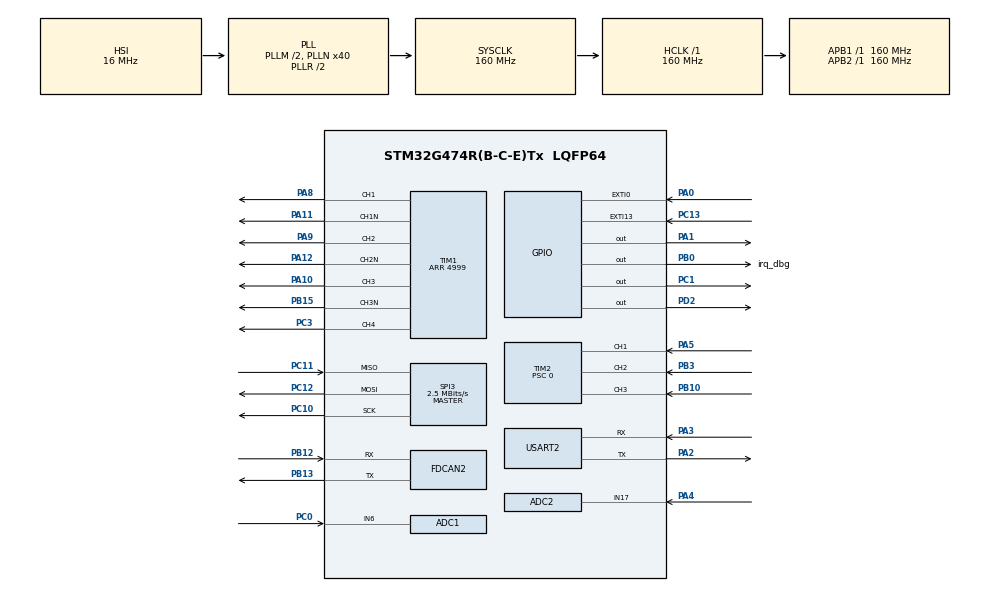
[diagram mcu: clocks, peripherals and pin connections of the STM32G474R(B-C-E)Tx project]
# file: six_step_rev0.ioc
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ADC1.Channel-0\#ChannelRegularConversion=ADC_CHANNEL_6
ADC1.NbrOfConversionFlag=1
ADC1.OffsetNumber-0\#ChannelRegularConversion=ADC_OFFSET_NONE
ADC1.Rank-0\#ChannelRegularConversion=1
ADC1.SamplingTime-0\#ChannelRegularConversion=ADC_SAMPLETIME_2CYCLES_5
ADC1.master=1
ADC2.Channel-0\#ChannelRegularConversion=ADC_CHANNEL_17
ADC2.DMAContinuousRequests=ENABLE
ADC2.EOCSelection=ADC_EOC_SEQ_CONV
ADC2.ExternalTrigConv=ADC_EXTERNALTRIG_T6_TRGO
ADC2.NbrOfConversion=1
ADC2.NbrOfConversionFlag=1
ADC2.OffsetNumber-0\#ChannelRegularConversion=ADC_OFFSET_NONE
ADC2.Overrun=ADC_OVR_DATA_OVERWRITTEN
ADC2.Rank-0\#ChannelRegularConversion=1
ADC2.SamplingTime-0\#ChannelRegularConversion=ADC_SAMPLETIME_2CYCLES_5
Dma.ADC2.2.Direction=DMA_PERIPH_TO_MEMORY
Dma.ADC2.2.EventEnable=DISABLE
Dma.ADC2.2.Instance=DMA1_Channel3
Dma.ADC2.2.MemDataAlignment=DMA_MDATAALIGN_HALFWORD
Dma.ADC2.2.MemInc=DMA_MINC_ENABLE
Dma.ADC2.2.Mode=DMA_CIRCULAR
Dma.ADC2.2.PeriphDataAlignment=DMA_PDATAALIGN_HALFWORD
Dma.ADC2.2.PeriphInc=DMA_PINC_DISABLE
Dma.ADC2.2.Polarity=HAL_DMAMUX_REQ_GEN_RISING
Dma.ADC2.2.Priority=DMA_PRIORITY_LOW
Dma.ADC2.2.RequestNumber=1
Dma.ADC2.2.SignalID=NONE
Dma.ADC2.2.SyncEnable=DISABLE
Dma.ADC2.2.SyncPolarity=HAL_DMAMUX_SYNC_NO_EVENT
Dma.ADC2.2.SyncRequestNumber=1
Dma.ADC2.2.SyncSignalID=NONE
Dma.Request0=USART2_TX
Dma.Request1=USART2_RX
Dma.Request2=ADC2
Dma.USART2_RX.1.Direction=DMA_PERIPH_TO_MEMORY
Dma.USART2_RX.1.EventEnable=DISABLE
Dma.USART2_RX.1.Instance=DMA1_Channel2
Dma.USART2_RX.1.MemDataAlignment=DMA_MDATAALIGN_BYTE
Dma.USART2_RX.1.MemInc=DMA_MINC_ENABLE
Dma.USART2_RX.1.Mode=DMA_NORMAL
Dma.USART2_RX.1.PeriphDataAlignment=DMA_PDATAALIGN_BYTE
Dma.USART2_RX.1.PeriphInc=DMA_PINC_DISABLE
Dma.USART2_RX.1.Polarity=HAL_DMAMUX_REQ_GEN_RISING
Dma.USART2_RX.1.Priority=DMA_PRIORITY_LOW
Dma.USART2_RX.1.RequestNumber=1
Dma.USART2_RX.1.SignalID=NONE
Dma.USART2_RX.1.SyncEnable=DISABLE
Dma.USART2_RX.1.SyncPolarity=HAL_DMAMUX_SYNC_NO_EVENT
Dma.USART2_RX.1.SyncRequestNumber=1
Dma.USART2_RX.1.SyncSignalID=NONE
Dma.USART2_TX.0.Direction=DMA_MEMORY_TO_PERIPH
Dma.USART2_TX.0.EventEnable=DISABLE
Dma.USART2_TX.0.Instance=DMA1_Channel1
Dma.USART2_TX.0.MemDataAlignment=DMA_MDATAALIGN_BYTE
Dma.USART2_TX.0.MemInc=DMA_MINC_ENABLE
Dma.USART2_TX.0.Mode=DMA_NORMAL
Dma.USART2_TX.0.PeriphDataAlignment=DMA_PDATAALIGN_BYTE
Dma.USART2_TX.0.PeriphInc=DMA_PINC_DISABLE
Dma.USART2_TX.0.Polarity=HAL_DMAMUX_REQ_GEN_RISING
Dma.USART2_TX.0.Priority=DMA_PRIORITY_LOW
Dma.USART2_TX.0.RequestNumber=1
Dma.USART2_TX.0.SignalID=NONE
Dma.USART2_TX.0.SyncEnable=DISABLE
Dma.USART2_TX.0.SyncPolarity=HAL_DMAMUX_SYNC_NO_EVENT
Dma.USART2_TX.0.SyncRequestNumber=1
Dma.USART2_TX.0.SyncSignalID=NONE
FDCAN2.CalculateBaudRateNominal=3333333
FDCAN2.CalculateTimeBitNominal=300
FDCAN2.CalculateTimeQuantumNominal=100.0
Mcu.Family=STM32G4
Mcu.Name=STM32G474R(B-C-E)Tx
Mcu.Package=LQFP64
NVIC.DMA1_Channel1_IRQn=true\:0\:0\:false\:false\:true\:false\:true\:true
NVIC.DMA1_Channel2_IRQn=true\:0\:0\:false\:false\:true\:false\:true\:true
NVIC.DMA1_Channel3_IRQn=true\:0\:0\:false\:false\:true\:false\:true\:true
NVIC.EXTI0_IRQn=true\:0\:0\:false\:false\:true\:true\:true\:true
NVIC.EXTI15_10_IRQn=true\:0\:0\:false\:false\:true\:true\:true\:true
NVIC.PriorityGroup=NVIC_PRIORITYGROUP_4
NVIC.TIM1_BRK_TIM15_IRQn=true\:1\:0\:true\:false\:true\:true\:true\:true
NVIC.TIM1_CC_IRQn=true\:1\:0\:true\:false\:true\:true\:true\:true
NVIC.TIM2_IRQn=true\:0\:0\:false\:false\:true\:true\:true\:true
NVIC.TIM6_DAC_IRQn=true\:0\:0\:false\:false\:true\:true\:true\:true
NVIC.USART2_IRQn=true\:0\:0\:false\:false\:true\:false\:true\:true
PA0.GPIO_ModeDefaultEXTI=GPIO_MODE_IT_FALLING
PA0.Signal=GPXTI0
PA1.Signal=GPIO_Output
PA10.GPIO_PuPd=GPIO_PULLDOWN
PA10.GPIO_Speed=GPIO_SPEED_FREQ_VERY_HIGH
PA10.Signal=S_TIM1_CH3
PA11.GPIO_PuPd=GPIO_PULLDOWN
PA11.GPIO_Speed=GPIO_SPEED_FREQ_VERY_HIGH
PA11.Mode=PWM Generation1 CH1 CH1N
PA11.Signal=TIM1_CH1N
PA12.GPIO_PuPd=GPIO_PULLDOWN
PA12.GPIO_Speed=GPIO_SPEED_FREQ_VERY_HIGH
PA12.Mode=PWM Generation2 CH2 CH2N
PA12.Signal=TIM1_CH2N
PA13.Mode=Serial_Wire
PA13.Signal=SYS_JTMS-SWDIO
PA14.Mode=Serial_Wire
PA14.Signal=SYS_JTCK-SWCLK
PA2.Mode=Asynchronous
PA2.Signal=USART2_TX
PA3.Mode=Asynchronous
PA3.Signal=USART2_RX
PA4.Mode=IN17-Single-Ended
PA4.Signal=ADC2_IN17
PA5.GPIO_PuPd=GPIO_PULLUP
PA5.Signal=S_TIM2_CH1
PA8.GPIO_PuPd=GPIO_PULLDOWN
PA8.GPIO_Speed=GPIO_SPEED_FREQ_VERY_HIGH
PA8.Signal=S_TIM1_CH1
PA9.GPIO_PuPd=GPIO_PULLDOWN
PA9.GPIO_Speed=GPIO_SPEED_FREQ_VERY_HIGH
PA9.Signal=S_TIM1_CH2
PB0.GPIO_Label=irq_dbg
PB0.Signal=GPIO_Output
PB10.GPIO_PuPd=GPIO_PULLUP
PB10.Signal=S_TIM2_CH3
PB12.Mode=FDCAN_Activate
PB12.Signal=FDCAN2_RX
PB13.Mode=FDCAN_Activate
PB13.Signal=FDCAN2_TX
PB15.GPIO_PuPd=GPIO_PULLDOWN
PB15.GPIO_Speed=GPIO_SPEED_FREQ_VERY_HIGH
PB15.Mode=PWM Generation3 CH3 CH3N
PB15.Signal=TIM1_CH3N
PB3.GPIO_PuPd=GPIO_PULLUP
PB3.Signal=S_TIM2_CH2
PC0.Mode=IN6-Single-Ended
PC0.Signal=ADC1_IN6
PC1.Signal=GPIO_Output
PC10.GPIO_Speed=GPIO_SPEED_FREQ_VERY_HIGH
PC10.Mode=Full_Duplex_Master
PC10.Signal=SPI3_SCK
PC11.GPIO_Speed=GPIO_SPEED_FREQ_VERY_HIGH
PC11.Mode=Full_Duplex_Master
PC11.Signal=SPI3_MISO
PC12.GPIO_Speed=GPIO_SPEED_FREQ_VERY_HIGH
PC12.Mode=Full_Duplex_Master
PC12.Signal=SPI3_MOSI
PC13.Signal=GPXTI13
PC3.GPIO_PuPd=GPIO_PULLDOWN
PC3.GPIO_Speed=GPIO_SPEED_FREQ_VERY_HIGH
PC3.Signal=S_TIM1_CH4
PD2.Signal=GPIO_Output
PF0-OSC_IN.Mode=HSE-External-Oscillator
PF0-OSC_IN.Signal=RCC_OSC_IN
PF1-OSC_OUT.Mode=HSE-External-Oscillator
PF1-OSC_OUT.Signal=RCC_OSC_OUT
ProjectManager.HeapSize=0x200
ProjectManager.StackSize=0x400
ProjectManager.TargetToolchain=CMake
RCC.ADC12Freq_Value=160000000
RCC.ADC345Freq_Value=160000000
RCC.AHBFreq_Value=160000000
RCC.APB1Freq_Value=160000000
RCC.APB1TimFreq_Value=160000000
RCC.APB2Freq_Value=160000000
RCC.APB2TimFreq_Value=160000000
RCC.CortexFreq_Value=160000000
RCC.EXTERNAL_CLOCK_VALUE=12288000
RCC.HCLKFreq_Value=160000000
RCC.HSE_VALUE=8000000
RCC.HSI48_VALUE=48000000
RCC.HSI_VALUE=16000000
RCC.LSE_VALUE=32768
RCC.PLLM=RCC_PLLM_DIV2
RCC.PLLN=40
RCC.SYSCLKFreq_VALUE=160000000
RCC.SYSCLKSource=RCC_SYSCLKSOURCE_PLLCLK
RCC.USBFreq_Value=160000000
RCC.VCOOutputFreq_Value=320000000
SH.S_TIM1_CH1.0=TIM1_CH1,PWM Generation1 CH1 CH1N
SH.S_TIM1_CH2.0=TIM1_CH2,PWM Generation2 CH2 CH2N
SH.S_TIM1_CH3.0=TIM1_CH3,PWM Generation3 CH3 CH3N
SH.S_TIM1_CH4.0=TIM1_CH4,PWM Generation4 CH4
SH.S_TIM2_CH1.0=TIM2_CH1,Xored_Inputs_Hall_Sensor_Interface
SH.S_TIM2_CH2.0=TIM2_CH2,Xored_Inputs_Hall_Sensor_Interface
SH.S_TIM2_CH3.0=TIM2_CH3,Xored_Inputs_Hall_Sensor_Interface
SPI3.BaudRatePrescaler=SPI_BAUDRATEPRESCALER_64
SPI3.CLKPhase=SPI_PHASE_2EDGE
SPI3.CalculateBaudRate=2.5 MBits/s
SPI3.DataSize=SPI_DATASIZE_16BIT
SPI3.Direction=SPI_DIRECTION_2LINES
SPI3.Mode=SPI_MODE_MASTER
SPI3.VirtualType=VM_MASTER
TIM1.BreakFilter=15
TIM1.Channel-PWM\ Generation1\ CH1\ CH1N=TIM_CHANNEL_1
TIM1.Channel-PWM\ Generation2\ CH2\ CH2N=TIM_CHANNEL_2
TIM1.Channel-PWM\ Generation3\ CH3\ CH3N=TIM_CHANNEL_3
TIM1.Channel-PWM\ Generation4\ CH4=TIM_CHANNEL_4
TIM1.CounterMode=TIM_COUNTERMODE_CENTERALIGNED1
TIM1.DeadTime=100
TIM1.PeriodNoDither=4999
TIM1.PulseNoDither_4=1
TIM1.TIM_MasterOutputTrigger=TIM_TRGO_OC4REF
TIM2.Commutation_Delay=20
TIM2.IC1Filter=15
TIM2.Prescaler=0
TIM6.PeriodNoDither=SIX_STEP_FREQ
TIM6.Prescaler=159
TIM6.TIM_MasterOutputTrigger=TIM_TRGO_UPDATE
USART2.VirtualMode-Asynchronous=VM_ASYNC
VP_SYS_VS_DBSignals.Mode=DisableDeadBatterySignals
VP_TIM1_VS_ClockSourceINT.Mode=Internal
VP_TIM6_VS_ClockSourceINT.Mode=Enable_Timer
board=custom

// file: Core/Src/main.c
/* USER CODE BEGIN Header */
/**
  ******************************************************************************
  * @file           : main.c
  * @brief          : Main program body
  ******************************************************************************
  * @attention
  *
  * Copyright (c) 2025 STMicroelectronics.
  * All rights reserved.
  *
  * This software is licensed under terms that can be found in the LICENSE file
  * in the root directory of this software component.
  * If no LICENSE file comes with this software, it is provided AS-IS.
  *
  ******************************************************************************
  */
/* USER CODE END Header */
#include "main.h"

/* USER CODE BEGIN Includes */
#include "DRV8320S.h"
#include "UartComm.h"
#include "MotorControl.h"
#include "MotorConfig.h"
/* USER CODE END Includes */

ADC_HandleTypeDef hadc1;
ADC_HandleTypeDef hadc2;
DMA_HandleTypeDef hdma_adc2;

FDCAN_HandleTypeDef hfdcan2;

SPI_HandleTypeDef hspi3;

TIM_HandleTypeDef htim1;
TIM_HandleTypeDef htim2;
TIM_HandleTypeDef htim6;

UART_HandleTypeDef huart2;
DMA_HandleTypeDef hdma_usart2_tx;
DMA_HandleTypeDef hdma_usart2_rx;

/* USER CODE BEGIN PV */
extern uint8_t MotorControlStatus;
extern uint8_t BtnActivation;
/* USER CODE END PV */

void SystemClock_Config(void);
static void MX_GPIO_Init(void);
static void MX_DMA_Init(void);
static void MX_USART2_UART_Init(void);
static void MX_FDCAN2_Init(void);
static void MX_TIM6_Init(void);
static void MX_ADC2_Init(void);
static void MX_ADC1_Init(void);
static void MX_SPI3_Init(void);
static void MX_TIM2_Init(void);
static void MX_TIM1_Init(void);

/* USER CODE BEGIN 0 */
volatile uint32_t hall_count=0;
void HAL_UARTEx_RxEventCallback(UART_HandleTypeDef *huart, uint16_t Size){
  UartCommCallback(Size);
}

void HAL_TIM_PeriodElapsedCallback(TIM_HandleTypeDef *htim){
  if(htim->Instance==TIM6){

  }
}

void HAL_TIM_IC_CaptureCallback(TIM_HandleTypeDef *htim) {
	if(htim->Instance == TIM2){
    HAL_GPIO_WritePin(irq_dbg_GPIO_Port,irq_dbg_Pin,1);
    if(TIM2->CCR1){
      MotorCalculateRotationSpeed(TIM2->CCR1);
      MotorGetActualHallState();
      MotorCalculateNewHallState();
      HAL_GPIO_WritePin(irq_dbg_GPIO_Port,irq_dbg_Pin,0);
    }
	}
}

void HAL_TIM_OC_DelayElapsedCallback(TIM_HandleTypeDef *htim) {
	if(htim->Instance == TIM1) {
    //MotorGetActualHallState();
    //MotorCalculateNewHallState();
    MotorGetNextStep();
    MotorLoadNewStep();
  }
}
/* USER CODE END 0 */

int main(void)
{

  /* MCU Configuration--------------------------------------------------------*/

  /* Reset of all peripherals, Initializes the Flash interface and the Systick. */
  HAL_Init();

  /* Configure the system clock */
  SystemClock_Config();

  /* Initialize all configured peripherals */
  MX_GPIO_Init();
  MX_DMA_Init();
  MX_USART2_UART_Init();
  MX_FDCAN2_Init();
  MX_TIM6_Init();
  MX_ADC2_Init();
  MX_ADC1_Init();
  MX_SPI3_Init();
  MX_TIM2_Init();
  MX_TIM1_Init();
  /* USER CODE BEGIN 2 */
  UartCommInit();

  DRV8320_SetEnable();
  /* for initialization only */
  HAL_Delay(10);
  DRV8320S_Init();
  DRV8320S_GetStatus();
  DRV8320S_clearFault();
  DRV8320_ResetEnable();
  HAL_TIMEx_HallSensor_Start_IT(&htim2);
  /* USER CODE END 2 */

  /* Infinite loop */
  /* USER CODE BEGIN WHILE */
  while (1)
  {
    //DRV8320S_GetStatus();
    if(DRV8320_IsFaultDetected()){
      DRV8320S_GetStatus();
      DRV8320S_clearFault();
    }
    UartCommService();
    if(BtnActivation){
      BtnActivation=0;
      if(MotorControlStatus)
        MotorTurnOn();
      else
        MotorTurnOff();
    }
    /* USER CODE END WHILE */

  }
}

void SystemClock_Config(void)
{
  RCC_OscInitTypeDef RCC_OscInitStruct = {0};
  RCC_ClkInitTypeDef RCC_ClkInitStruct = {0};

  /** Configure the main internal regulator output voltage
  */
  HAL_PWREx_ControlVoltageScaling(PWR_REGULATOR_VOLTAGE_SCALE1_BOOST);

  /** Initializes the RCC Oscillators according to the specified parameters
  * in the RCC_OscInitTypeDef structure.
  */
  RCC_OscInitStruct.OscillatorType = RCC_OSCILLATORTYPE_HSI;
  RCC_OscInitStruct.HSIState = RCC_HSI_ON;
  RCC_OscInitStruct.HSICalibrationValue = RCC_HSICALIBRATION_DEFAULT;
  RCC_OscInitStruct.PLL.PLLState = RCC_PLL_ON;
  RCC_OscInitStruct.PLL.PLLSource = RCC_PLLSOURCE_HSI;
  RCC_OscInitStruct.PLL.PLLM = RCC_PLLM_DIV2;
  RCC_OscInitStruct.PLL.PLLN = 40;
  RCC_OscInitStruct.PLL.PLLP = RCC_PLLP_DIV2;
  RCC_OscInitStruct.PLL.PLLQ = RCC_PLLQ_DIV2;
  RCC_OscInitStruct.PLL.PLLR = RCC_PLLR_DIV2;
  if (HAL_RCC_OscConfig(&RCC_OscInitStruct) != HAL_OK)
  {
    Error_Handler();
  }

  /** Initializes the CPU, AHB and APB buses clocks
  */
  RCC_ClkInitStruct.ClockType = RCC_CLOCKTYPE_HCLK|RCC_CLOCKTYPE_SYSCLK
                              |RCC_CLOCKTYPE_PCLK1|RCC_CLOCKTYPE_PCLK2;
  RCC_ClkInitStruct.SYSCLKSource = RCC_SYSCLKSOURCE_PLLCLK;
  RCC_ClkInitStruct.AHBCLKDivider = RCC_SYSCLK_DIV1;
  RCC_ClkInitStruct.APB1CLKDivider = RCC_HCLK_DIV1;
  RCC_ClkInitStruct.APB2CLKDivider = RCC_HCLK_DIV1;

  if (HAL_RCC_ClockConfig(&RCC_ClkInitStruct, FLASH_LATENCY_4) != HAL_OK)
  {
    Error_Handler();
  }
}

static void MX_ADC1_Init(void)
{

  ADC_MultiModeTypeDef multimode = {0};
  ADC_ChannelConfTypeDef sConfig = {0};

  /** Common config
  */
  hadc1.Instance = ADC1;
  hadc1.Init.ClockPrescaler = ADC_CLOCK_SYNC_PCLK_DIV4;
  hadc1.Init.Resolution = ADC_RESOLUTION_12B;
  hadc1.Init.DataAlign = ADC_DATAALIGN_RIGHT;
  hadc1.Init.GainCompensation = 0;
  hadc1.Init.ScanConvMode = ADC_SCAN_DISABLE;
  hadc1.Init.EOCSelection = ADC_EOC_SINGLE_CONV;
  hadc1.Init.LowPowerAutoWait = DISABLE;
  hadc1.Init.ContinuousConvMode = DISABLE;
  hadc1.Init.NbrOfConversion = 1;
  hadc1.Init.DiscontinuousConvMode = DISABLE;
  hadc1.Init.ExternalTrigConv = ADC_SOFTWARE_START;
  hadc1.Init.ExternalTrigConvEdge = ADC_EXTERNALTRIGCONVEDGE_NONE;
  hadc1.Init.DMAContinuousRequests = DISABLE;
  hadc1.Init.Overrun = ADC_OVR_DATA_PRESERVED;
  hadc1.Init.OversamplingMode = DISABLE;
  if (HAL_ADC_Init(&hadc1) != HAL_OK)
  {
    Error_Handler();
  }

  /** Configure the ADC multi-mode
  */
  multimode.Mode = ADC_MODE_INDEPENDENT;
  if (HAL_ADCEx_MultiModeConfigChannel(&hadc1, &multimode) != HAL_OK)
  {
    Error_Handler();
  }

  /** Configure Regular Channel
  */
  sConfig.Channel = ADC_CHANNEL_6;
  sConfig.Rank = ADC_REGULAR_RANK_1;
  sConfig.SamplingTime = ADC_SAMPLETIME_2CYCLES_5;
  sConfig.SingleDiff = ADC_SINGLE_ENDED;
  sConfig.OffsetNumber = ADC_OFFSET_NONE;
  sConfig.Offset = 0;
  if (HAL_ADC_ConfigChannel(&hadc1, &sConfig) != HAL_OK)
  {
    Error_Handler();
  }

}

static void MX_ADC2_Init(void)
{

  ADC_ChannelConfTypeDef sConfig = {0};

  /** Common config
  */
  hadc2.Instance = ADC2;
  hadc2.Init.ClockPrescaler = ADC_CLOCK_SYNC_PCLK_DIV4;
  hadc2.Init.Resolution = ADC_RESOLUTION_12B;
  hadc2.Init.DataAlign = ADC_DATAALIGN_RIGHT;
  hadc2.Init.GainCompensation = 0;
  hadc2.Init.ScanConvMode = ADC_SCAN_DISABLE;
  hadc2.Init.EOCSelection = ADC_EOC_SEQ_CONV;
  hadc2.Init.LowPowerAutoWait = DISABLE;
  hadc2.Init.ContinuousConvMode = DISABLE;
  hadc2.Init.NbrOfConversion = 1;
  hadc2.Init.DiscontinuousConvMode = DISABLE;
  hadc2.Init.ExternalTrigConv = ADC_EXTERNALTRIG_T6_TRGO;
  hadc2.Init.ExternalTrigConvEdge = ADC_EXTERNALTRIGCONVEDGE_RISING;
  hadc2.Init.DMAContinuousRequests = ENABLE;
  hadc2.Init.Overrun = ADC_OVR_DATA_OVERWRITTEN;
  hadc2.Init.OversamplingMode = DISABLE;
  if (HAL_ADC_Init(&hadc2) != HAL_OK)
  {
    Error_Handler();
  }

  /** Configure Regular Channel
  */
  sConfig.Channel = ADC_CHANNEL_17;
  sConfig.Rank = ADC_REGULAR_RANK_1;
  sConfig.SamplingTime = ADC_SAMPLETIME_2CYCLES_5;
  sConfig.SingleDiff = ADC_SINGLE_ENDED;
  sConfig.OffsetNumber = ADC_OFFSET_NONE;
  sConfig.Offset = 0;
  if (HAL_ADC_ConfigChannel(&hadc2, &sConfig) != HAL_OK)
  {
    Error_Handler();
  }

}

static void MX_FDCAN2_Init(void)
{

  hfdcan2.Instance = FDCAN2;
  hfdcan2.Init.ClockDivider = FDCAN_CLOCK_DIV1;
  hfdcan2.Init.FrameFormat = FDCAN_FRAME_CLASSIC;
  hfdcan2.Init.Mode = FDCAN_MODE_NORMAL;
  hfdcan2.Init.AutoRetransmission = DISABLE;
  hfdcan2.Init.TransmitPause = DISABLE;
  hfdcan2.Init.ProtocolException = DISABLE;
  hfdcan2.Init.NominalPrescaler = 16;
  hfdcan2.Init.NominalSyncJumpWidth = 1;
  hfdcan2.Init.NominalTimeSeg1 = 1;
  hfdcan2.Init.NominalTimeSeg2 = 1;
  hfdcan2.Init.DataPrescaler = 1;
  hfdcan2.Init.DataSyncJumpWidth = 1;
  hfdcan2.Init.DataTimeSeg1 = 1;
  hfdcan2.Init.DataTimeSeg2 = 1;
  hfdcan2.Init.StdFiltersNbr = 0;
  hfdcan2.Init.ExtFiltersNbr = 0;
  hfdcan2.Init.TxFifoQueueMode = FDCAN_TX_FIFO_OPERATION;
  if (HAL_FDCAN_Init(&hfdcan2) != HAL_OK)
  {
    Error_Handler();
  }

}

static void MX_SPI3_Init(void)
{

  /* SPI3 parameter configuration*/
  hspi3.Instance = SPI3;
  hspi3.Init.Mode = SPI_MODE_MASTER;
  hspi3.Init.Direction = SPI_DIRECTION_2LINES;
  hspi3.Init.DataSize = SPI_DATASIZE_16BIT;
  hspi3.Init.CLKPolarity = SPI_POLARITY_LOW;
  hspi3.Init.CLKPhase = SPI_PHASE_2EDGE;
  hspi3.Init.NSS = SPI_NSS_SOFT;
  hspi3.Init.BaudRatePrescaler = SPI_BAUDRATEPRESCALER_64;
  hspi3.Init.FirstBit = SPI_FIRSTBIT_MSB;
  hspi3.Init.TIMode = SPI_TIMODE_DISABLE;
  hspi3.Init.CRCCalculation = SPI_CRCCALCULATION_DISABLE;
  hspi3.Init.CRCPolynomial = 7;
  hspi3.Init.CRCLength = SPI_CRC_LENGTH_DATASIZE;
  hspi3.Init.NSSPMode = SPI_NSS_PULSE_DISABLE;
  if (HAL_SPI_Init(&hspi3) != HAL_OK)
  {
    Error_Handler();
  }

}

static void MX_TIM1_Init(void)
{

  TIM_ClockConfigTypeDef sClockSourceConfig = {0};
  TIM_MasterConfigTypeDef sMasterConfig = {0};
  TIM_OC_InitTypeDef sConfigOC = {0};
  TIM_BreakDeadTimeConfigTypeDef sBreakDeadTimeConfig = {0};

  htim1.Instance = TIM1;
  htim1.Init.Prescaler = 0;
  htim1.Init.CounterMode = TIM_COUNTERMODE_CENTERALIGNED1;
  htim1.Init.Period = 4999;
  htim1.Init.ClockDivision = TIM_CLOCKDIVISION_DIV1;
  htim1.Init.RepetitionCounter = 0;
  htim1.Init.AutoReloadPreload = TIM_AUTORELOAD_PRELOAD_DISABLE;
  if (HAL_TIM_Base_Init(&htim1) != HAL_OK)
  {
    Error_Handler();
  }
  sClockSourceConfig.ClockSource = TIM_CLOCKSOURCE_INTERNAL;
  if (HAL_TIM_ConfigClockSource(&htim1, &sClockSourceConfig) != HAL_OK)
  {
    Error_Handler();
  }
  if (HAL_TIM_PWM_Init(&htim1) != HAL_OK)
  {
    Error_Handler();
  }
  sMasterConfig.MasterOutputTrigger = TIM_TRGO_OC4REF;
  sMasterConfig.MasterOutputTrigger2 = TIM_TRGO2_RESET;
  sMasterConfig.MasterSlaveMode = TIM_MASTERSLAVEMODE_DISABLE;
  if (HAL_TIMEx_MasterConfigSynchronization(&htim1, &sMasterConfig) != HAL_OK)
  {
    Error_Handler();
  }
  sConfigOC.OCMode = TIM_OCMODE_PWM1;
  sConfigOC.Pulse = 0;
  sConfigOC.OCPolarity = TIM_OCPOLARITY_HIGH;
  sConfigOC.OCNPolarity = TIM_OCNPOLARITY_HIGH;
  sConfigOC.OCFastMode = TIM_OCFAST_DISABLE;
  sConfigOC.OCIdleState = TIM_OCIDLESTATE_RESET;
  sConfigOC.OCNIdleState = TIM_OCNIDLESTATE_RESET;
  if (HAL_TIM_PWM_ConfigChannel(&htim1, &sConfigOC, TIM_CHANNEL_1) != HAL_OK)
  {
    Error_Handler();
  }
  if (HAL_TIM_PWM_ConfigChannel(&htim1, &sConfigOC, TIM_CHANNEL_2) != HAL_OK)
  {
    Error_Handler();
  }
  if (HAL_TIM_PWM_ConfigChannel(&htim1, &sConfigOC, TIM_CHANNEL_3) != HAL_OK)
  {
    Error_Handler();
  }
  sConfigOC.Pulse = 1;
  if (HAL_TIM_PWM_ConfigChannel(&htim1, &sConfigOC, TIM_CHANNEL_4) != HAL_OK)
  {
    Error_Handler();
  }
  sBreakDeadTimeConfig.OffStateRunMode = TIM_OSSR_DISABLE;
  sBreakDeadTimeConfig.OffStateIDLEMode = TIM_OSSI_DISABLE;
  sBreakDeadTimeConfig.LockLevel = TIM_LOCKLEVEL_OFF;
  sBreakDeadTimeConfig.DeadTime = 100;
  sBreakDeadTimeConfig.BreakState = TIM_BREAK_DISABLE;
  sBreakDeadTimeConfig.BreakPolarity = TIM_BREAKPOLARITY_HIGH;
  sBreakDeadTimeConfig.BreakFilter = 15;
  sBreakDeadTimeConfig.BreakAFMode = TIM_BREAK_AFMODE_INPUT;
  sBreakDeadTimeConfig.Break2State = TIM_BREAK2_DISABLE;
  sBreakDeadTimeConfig.Break2Polarity = TIM_BREAK2POLARITY_HIGH;
  sBreakDeadTimeConfig.Break2Filter = 0;
  sBreakDeadTimeConfig.Break2AFMode = TIM_BREAK_AFMODE_INPUT;
  sBreakDeadTimeConfig.AutomaticOutput = TIM_AUTOMATICOUTPUT_DISABLE;
  if (HAL_TIMEx_ConfigBreakDeadTime(&htim1, &sBreakDeadTimeConfig) != HAL_OK)
  {
    Error_Handler();
  }
  HAL_TIM_MspPostInit(&htim1);

}

static void MX_TIM2_Init(void)
{

  TIM_HallSensor_InitTypeDef sConfig = {0};
  TIM_MasterConfigTypeDef sMasterConfig = {0};

  htim2.Instance = TIM2;
  htim2.Init.Prescaler = 0;
  htim2.Init.CounterMode = TIM_COUNTERMODE_UP;
  htim2.Init.Period = 4294967295;
  htim2.Init.ClockDivision = TIM_CLOCKDIVISION_DIV1;
  htim2.Init.AutoReloadPreload = TIM_AUTORELOAD_PRELOAD_DISABLE;
  sConfig.IC1Polarity = TIM_ICPOLARITY_RISING;
  sConfig.IC1Prescaler = TIM_ICPSC_DIV1;
  sConfig.IC1Filter = 15;
  sConfig.Commutation_Delay = 20;
  if (HAL_TIMEx_HallSensor_Init(&htim2, &sConfig) != HAL_OK)
  {
    Error_Handler();
  }
  sMasterConfig.MasterOutputTrigger = TIM_TRGO_OC2REF;
  sMasterConfig.MasterSlaveMode = TIM_MASTERSLAVEMODE_DISABLE;
  if (HAL_TIMEx_MasterConfigSynchronization(&htim2, &sMasterConfig) != HAL_OK)
  {
    Error_Handler();
  }

}

static void MX_TIM6_Init(void)
{

  TIM_MasterConfigTypeDef sMasterConfig = {0};

  htim6.Instance = TIM6;
  htim6.Init.Prescaler = 159;
  htim6.Init.CounterMode = TIM_COUNTERMODE_UP;
  htim6.Init.Period = SIX_STEP_FREQ;
  htim6.Init.AutoReloadPreload = TIM_AUTORELOAD_PRELOAD_DISABLE;
  if (HAL_TIM_Base_Init(&htim6) != HAL_OK)
  {
    Error_Handler();
  }
  sMasterConfig.MasterOutputTrigger = TIM_TRGO_UPDATE;
  sMasterConfig.MasterSlaveMode = TIM_MASTERSLAVEMODE_DISABLE;
  if (HAL_TIMEx_MasterConfigSynchronization(&htim6, &sMasterConfig) != HAL_OK)
  {
    Error_Handler();
  }

}

static void MX_USART2_UART_Init(void)
{

  huart2.Instance = USART2;
  huart2.Init.BaudRate = 115200;
  huart2.Init.WordLength = UART_WORDLENGTH_8B;
  huart2.Init.StopBits = UART_STOPBITS_1;
  huart2.Init.Parity = UART_PARITY_NONE;
  huart2.Init.Mode = UART_MODE_TX_RX;
  huart2.Init.HwFlowCtl = UART_HWCONTROL_NONE;
  huart2.Init.OverSampling = UART_OVERSAMPLING_16;
  huart2.Init.OneBitSampling = UART_ONE_BIT_SAMPLE_DISABLE;
  huart2.Init.ClockPrescaler = UART_PRESCALER_DIV1;
  huart2.AdvancedInit.AdvFeatureInit = UART_ADVFEATURE_NO_INIT;
  if (HAL_UART_Init(&huart2) != HAL_OK)
  {
    Error_Handler();
  }
  if (HAL_UARTEx_SetTxFifoThreshold(&huart2, UART_TXFIFO_THRESHOLD_1_8) != HAL_OK)
  {
    Error_Handler();
  }
  if (HAL_UARTEx_SetRxFifoThreshold(&huart2, UART_RXFIFO_THRESHOLD_1_8) != HAL_OK)
  {
    Error_Handler();
  }
  if (HAL_UARTEx_DisableFifoMode(&huart2) != HAL_OK)
  {
    Error_Handler();
  }

}

static void MX_DMA_Init(void)
{

  /* DMA controller clock enable */
  __HAL_RCC_DMAMUX1_CLK_ENABLE();
  __HAL_RCC_DMA1_CLK_ENABLE();

  /* DMA interrupt init */
  /* DMA1_Channel1_IRQn interrupt configuration */
  HAL_NVIC_SetPriority(DMA1_Channel1_IRQn, 0, 0);
  HAL_NVIC_EnableIRQ(DMA1_Channel1_IRQn);
  /* DMA1_Channel2_IRQn interrupt configuration */
  HAL_NVIC_SetPriority(DMA1_Channel2_IRQn, 0, 0);
  HAL_NVIC_EnableIRQ(DMA1_Channel2_IRQn);
  /* DMA1_Channel3_IRQn interrupt configuration */
  HAL_NVIC_SetPriority(DMA1_Channel3_IRQn, 0, 0);
  HAL_NVIC_EnableIRQ(DMA1_Channel3_IRQn);

}

static void MX_GPIO_Init(void)
{
  GPIO_InitTypeDef GPIO_InitStruct = {0};

  /* GPIO Ports Clock Enable */
  __HAL_RCC_GPIOC_CLK_ENABLE();
  __HAL_RCC_GPIOF_CLK_ENABLE();
  __HAL_RCC_GPIOA_CLK_ENABLE();
  __HAL_RCC_GPIOB_CLK_ENABLE();
  __HAL_RCC_GPIOD_CLK_ENABLE();

  /*Configure GPIO pin Output Level */
  HAL_GPIO_WritePin(GPIOC, GPIO_PIN_1, GPIO_PIN_RESET);

  /*Configure GPIO pin Output Level */
  HAL_GPIO_WritePin(GPIOA, GPIO_PIN_1, GPIO_PIN_RESET);

  /*Configure GPIO pin Output Level */
  HAL_GPIO_WritePin(irq_dbg_GPIO_Port, irq_dbg_Pin, GPIO_PIN_RESET);

  /*Configure GPIO pin Output Level */
  HAL_GPIO_WritePin(GPIOD, GPIO_PIN_2, GPIO_PIN_RESET);

  /*Configure GPIO pin : PC13 */
  GPIO_InitStruct.Pin = GPIO_PIN_13;
  GPIO_InitStruct.Mode = GPIO_MODE_IT_RISING;
  GPIO_InitStruct.Pull = GPIO_NOPULL;
  HAL_GPIO_Init(GPIOC, &GPIO_InitStruct);

  /*Configure GPIO pin : PC1 */
  GPIO_InitStruct.Pin = GPIO_PIN_1;
  GPIO_InitStruct.Mode = GPIO_MODE_OUTPUT_PP;
  GPIO_InitStruct.Pull = GPIO_NOPULL;
  GPIO_InitStruct.Speed = GPIO_SPEED_FREQ_LOW;
  HAL_GPIO_Init(GPIOC, &GPIO_InitStruct);

  /*Configure GPIO pin : PA0 */
  GPIO_InitStruct.Pin = GPIO_PIN_0;
  GPIO_InitStruct.Mode = GPIO_MODE_IT_FALLING;
  GPIO_InitStruct.Pull = GPIO_NOPULL;
  HAL_GPIO_Init(GPIOA, &GPIO_InitStruct);

  /*Configure GPIO pin : PA1 */
  GPIO_InitStruct.Pin = GPIO_PIN_1;
  GPIO_InitStruct.Mode = GPIO_MODE_OUTPUT_PP;
  GPIO_InitStruct.Pull = GPIO_NOPULL;
  GPIO_InitStruct.Speed = GPIO_SPEED_FREQ_LOW;
  HAL_GPIO_Init(GPIOA, &GPIO_InitStruct);

  /*Configure GPIO pin : irq_dbg_Pin */
  GPIO_InitStruct.Pin = irq_dbg_Pin;
  GPIO_InitStruct.Mode = GPIO_MODE_OUTPUT_PP;
  GPIO_InitStruct.Pull = GPIO_NOPULL;
  GPIO_InitStruct.Speed = GPIO_SPEED_FREQ_LOW;
  HAL_GPIO_Init(irq_dbg_GPIO_Port, &GPIO_InitStruct);

  /*Configure GPIO pin : PD2 */
  GPIO_InitStruct.Pin = GPIO_PIN_2;
  GPIO_InitStruct.Mode = GPIO_MODE_OUTPUT_PP;
  GPIO_InitStruct.Pull = GPIO_NOPULL;
  GPIO_InitStruct.Speed = GPIO_SPEED_FREQ_LOW;
  HAL_GPIO_Init(GPIOD, &GPIO_InitStruct);

  /* EXTI interrupt init*/
  HAL_NVIC_SetPriority(EXTI0_IRQn, 0, 0);
  HAL_NVIC_EnableIRQ(EXTI0_IRQn);

  HAL_NVIC_SetPriority(EXTI15_10_IRQn, 0, 0);
  HAL_NVIC_EnableIRQ(EXTI15_10_IRQn);

}

void Error_Handler(void)
{
  __disable_irq();
  while (1)
  {
  }
}
